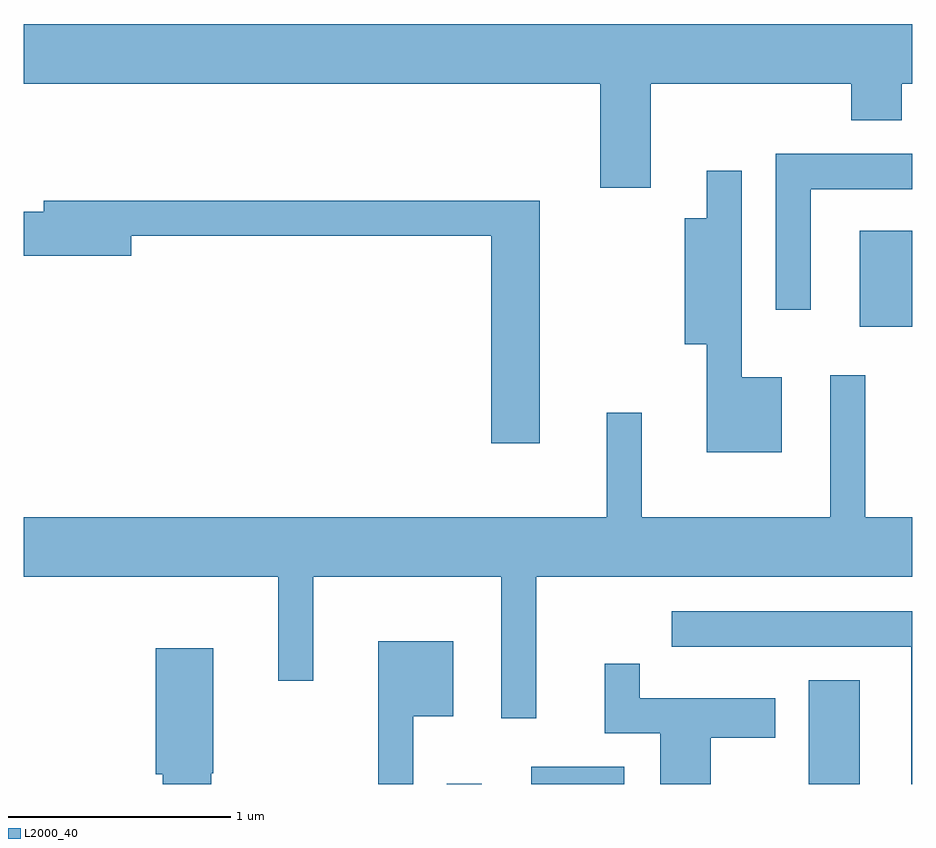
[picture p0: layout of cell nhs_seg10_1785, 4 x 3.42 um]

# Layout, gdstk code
import gdstk
lib = gdstk.Library(unit=1e-6, precision=1e-09)
def R(c, l, rs):  # rectangles x0, y0, x1, y1
    for r in rs: c.add(gdstk.rectangle(r[:2], r[2:], *l))
def P(c, l, *ps):  # polygons
    for p in ps: c.add(gdstk.Polygon(p, *l))
L2000_40 = (2000, 40)

nhs_seg10_1785 = lib.new_cell('nhs_seg10_1785')
R(nhs_seg10_1785, L2000_40, [(239.516,2128.522,239.674,2128.523), (239.896,2128.522,240.314,2128.599), (241.146,2128.522,241.374,2128.989), (241.376,2130.581,241.611,2131.014)])
P(nhs_seg10_1785, L2000_40, [(240.434,2131.676),(241.336,2131.676),(241.336,2131.511),(241.564,2131.511),(241.564,2131.676),(241.611,2131.676),(241.611,2131.944),(237.611,2131.944),(237.611,2131.676),(240.206,2131.676),(240.206,2131.206),(240.434,2131.206)],
  [(241.154,2131.201),(241.611,2131.201),(241.611,2131.359),(240.996,2131.359),(240.996,2130.658),(241.154,2130.658)],
  [(241.024,2130.354),(240.844,2130.354),(240.844,2131.283),(240.686,2131.283),(240.686,2131.069),(240.586,2131.069),(240.586,2130.501),(240.686,2130.501),(240.686,2130.016),(241.024,2130.016)],
  [(239.934,2131.149),(237.701,2131.149),(237.701,2131.099),(237.611,2131.099),(237.611,2130.901),(238.094,2130.901),(238.094,2130.991),(239.716,2130.991),(239.716,2130.056),(239.934,2130.056)],
  [(239.919,2129.456),(241.611,2129.456),(241.611,2129.724),(241.399,2129.724),(241.399,2130.363),(241.241,2130.363),(241.241,2129.724),(240.394,2129.724),(240.394,2130.193),(240.236,2130.193),(240.236,2129.724),(237.611,2129.724),(237.611,2129.456),(238.756,2129.456),(238.756,2128.988),(238.914,2128.988),(238.914,2129.456),(239.761,2129.456),(239.761,2128.818),(239.919,2128.818)],
  [(241.611,2129.299),(240.528,2129.299),(240.528,2129.141),(241.606,2129.141),(241.606,2128.522),(241.611,2128.522)],
  [(239.364,2128.826),(239.544,2128.826),(239.544,2129.164),(239.206,2129.164),(239.206,2128.522),(239.364,2128.522)],
  [(238.454,2128.57),(238.464,2128.57),(238.464,2129.134),(238.206,2129.134),(238.206,2128.566),(238.236,2128.566),(238.236,2128.522),(238.454,2128.522)],
  [(240.704,2128.731),(240.994,2128.731),(240.994,2128.909),(240.384,2128.909),(240.384,2129.063),(240.226,2129.063),(240.226,2128.751),(240.476,2128.751),(240.476,2128.522),(240.704,2128.522)])

lib.write_gds('nhs_seg10_1785.gds')
